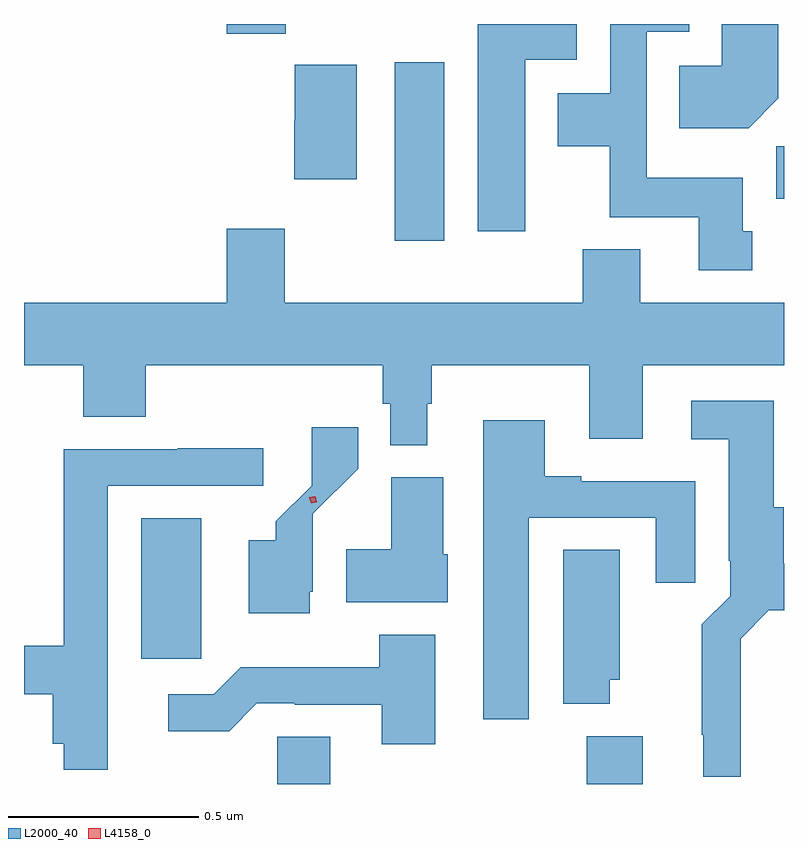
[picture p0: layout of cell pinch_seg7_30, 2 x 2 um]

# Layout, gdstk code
import gdstk
lib = gdstk.Library(unit=1e-6, precision=1e-09)
def R(c, l, rs):  # rectangles x0, y0, x1, y1
    for r in rs: c.add(gdstk.rectangle(r[:2], r[2:], *l))
def P(c, l, *ps):  # polygons
    for p in ps: c.add(gdstk.Polygon(p, *l))
L2000_40 = (2000, 40)
L4158_0 = (4158, 0)

pinch_seg7_30 = lib.new_cell('pinch_seg7_30')
R(pinch_seg7_30, L2000_40, [(1068.816,1068.778,1068.955,1068.902), (1069.63,1068.778,1069.777,1068.904), (1068.458,1069.107,1068.616,1069.478), (1069.124,1070.208,1069.255,1070.677), (1070.129,1070.318,1070.149,1070.456), (1068.683,1070.753,1068.838,1070.778)])
P(pinch_seg7_30, L2000_40, [(1070.134,1070.582),(1070.134,1070.778),(1069.985,1070.778),(1069.985,1070.668),(1069.873,1070.668),(1069.873,1070.504),(1070.056,1070.504)],
  [(1070.065,1070.232),(1070.041,1070.232),(1070.041,1070.374),(1069.788,1070.374),(1069.788,1070.757),(1069.9,1070.757),(1069.9,1070.778),(1069.692,1070.778),(1069.692,1070.596),(1069.553,1070.596),(1069.553,1070.456),(1069.69,1070.456),(1069.69,1070.27),(1069.925,1070.27),(1069.925,1070.13),(1070.065,1070.13)],
  [(1069.468,1070.684),(1069.603,1070.684),(1069.603,1070.778),(1069.343,1070.778),(1069.343,1070.232),(1069.468,1070.232)],
  [(1069.024,1070.671),(1068.862,1070.671),(1068.862,1070.523),(1068.86,1070.523),(1068.86,1070.37),(1069.024,1070.37)],
  [(1068.149,1069.88),(1068.305,1069.88),(1068.305,1069.744),(1068.47,1069.744),(1068.47,1069.88),(1069.093,1069.88),(1069.093,1069.779),(1069.113,1069.779),(1069.113,1069.67),(1069.21,1069.67),(1069.21,1069.779),(1069.222,1069.779),(1069.222,1069.88),(1069.637,1069.88),(1069.637,1069.686),(1069.777,1069.686),(1069.777,1069.88),(1070.149,1069.88),(1070.149,1070.044),(1069.771,1070.044),(1069.771,1070.185),(1069.619,1070.185),(1069.619,1070.044),(1068.835,1070.044),(1068.835,1070.239),(1068.683,1070.239),(1068.683,1070.044),(1068.149,1070.044)],
  [(1070.035,1069.16),(1070.109,1069.235),(1070.149,1069.235),(1070.149,1069.357),(1070.148,1069.357),(1070.148,1069.506),(1070.122,1069.506),(1070.122,1069.786),(1069.905,1069.786),(1069.905,1069.685),(1070.003,1069.685),(1070.003,1069.366),(1070.007,1069.366),(1070.007,1069.272),(1069.933,1069.198),(1069.933,1068.907),(1069.937,1068.907),(1069.937,1068.797),(1070.035,1068.797)],
  [(1069.477,1069.479),(1069.811,1069.479),(1069.811,1069.308),(1069.915,1069.308),(1069.915,1069.575),(1069.615,1069.575),(1069.615,1069.588),(1069.519,1069.588),(1069.519,1069.735),(1069.358,1069.735),(1069.358,1068.948),(1069.477,1068.948)],
  [(1068.901,1069.284),(1068.909,1069.284),(1068.909,1069.489),(1069.028,1069.608),(1069.028,1069.717),(1068.906,1069.717),(1068.906,1069.563),(1068.812,1069.469),(1068.812,1069.42),(1068.74,1069.42),(1068.74,1069.227),(1068.901,1069.227)],
  [(1068.369,1069.563),(1068.778,1069.563),(1068.778,1069.662),(1068.553,1069.662),(1068.553,1069.659),(1068.253,1069.659),(1068.253,1069.142),(1068.149,1069.142),(1068.149,1069.014),(1068.224,1069.014),(1068.224,1068.884),(1068.253,1068.884),(1068.253,1068.816),(1068.369,1068.816)],
  [(1069.264,1069.383),(1069.252,1069.383),(1069.252,1069.585),(1069.115,1069.585),(1069.115,1069.396),(1068.997,1069.396),(1068.997,1069.256),(1069.264,1069.256)],
  [(1069.69,1069.053),(1069.717,1069.053),(1069.717,1069.394),(1069.568,1069.394),(1069.568,1068.989),(1069.69,1068.989)],
  [(1069.231,1069.171),(1069.084,1069.171),(1069.084,1069.085),(1068.719,1069.085),(1068.648,1069.014),(1068.528,1069.014),(1068.528,1068.917),(1068.689,1068.917),(1068.762,1068.99),(1068.862,1068.99),(1068.862,1068.987),(1069.091,1068.987),(1069.091,1068.882),(1069.231,1068.882)])
P(pinch_seg7_30, L4158_0, [(1068.905,1069.517),(1068.9,1069.531),(1068.9,1069.532),(1068.9,1069.532),(1068.915,1069.535),(1068.92,1069.521),(1068.92,1069.52),(1068.92,1069.52)])

lib.write_gds('pinch_seg7_30.gds')
